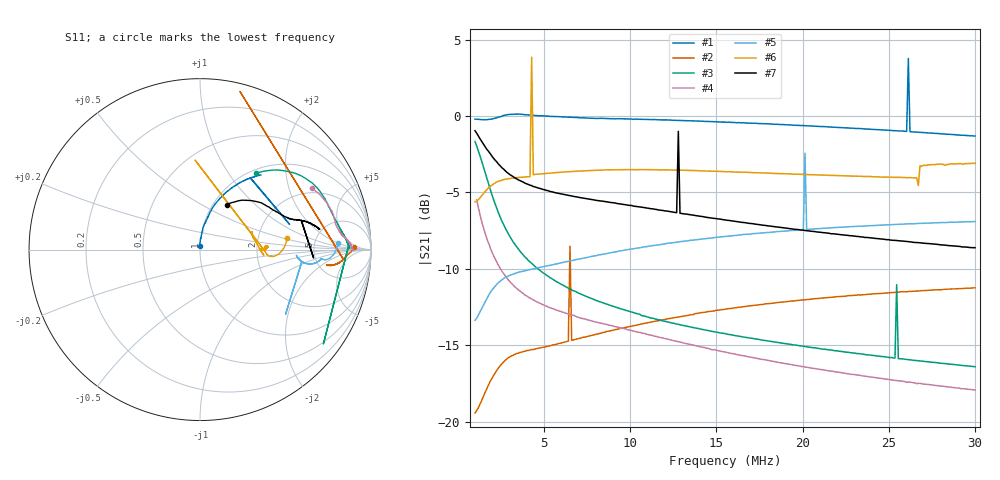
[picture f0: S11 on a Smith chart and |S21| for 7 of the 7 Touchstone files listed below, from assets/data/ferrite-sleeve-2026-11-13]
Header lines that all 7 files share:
!File created by NanoVNA-F V2
# Hz S RI R 50
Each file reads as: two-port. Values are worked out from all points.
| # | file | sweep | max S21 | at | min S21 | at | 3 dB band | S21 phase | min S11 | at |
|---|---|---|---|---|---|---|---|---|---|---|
| 1 | SJ000015.s2p | 1 MHz to 30 MHz | 3.77 dB | 26.13 MHz | -1.3 dB | 30 MHz | 26.13 MHz-26.13 MHz | -22 deg at 15.5 MHz | -33.9 dB | 1 MHz |
| 2 | SJ000017.s2p | 1 MHz to 30 MHz | -8.52 dB | 6.51 MHz | -19.4 dB | 1 MHz | 25.65 MHz-30 MHz | 10 deg at 15.5 MHz | -2.6 dB | 30 MHz |
| 3 | SJ000020.s2p | 1 MHz to 30 MHz | -1.67 dB | 1 MHz | -16.4 dB | 30 MHz | 1 MHz-1.773 MHz | -37 deg at 15.5 MHz | -5.2 dB | 1 MHz |
| 4 | SJ000021.s2p | 1.097 MHz to 30 MHz | -5.48 dB | 1.097 MHz | -17.9 dB | 30 MHz | 1.097 MHz-1.773 MHz | -35 deg at 15.6 MHz | -2.6 dB | 1.097 MHz |
| 5 | SJ000022.s2p | 1 MHz to 30 MHz | -2.43 dB | 20.14 MHz | -13.4 dB | 1 MHz | 20.14 MHz-20.14 MHz | 3 deg at 15.5 MHz | -5.0 dB | 29.9 MHz |
| 6 | SJ000023.s2p | 1 MHz to 30 MHz | 3.84 dB | 4.287 MHz | -5.6 dB | 1 MHz | 4.287 MHz-4.287 MHz | -13 deg at 15.5 MHz | -10.0 dB | 27.58 MHz |
| 7 | SJ000024.s2p | 1 MHz to 30 MHz | -0.96 dB | 1 MHz | -8.6 dB | 29.9 MHz | 1 MHz-3.127 MHz | -29 deg at 15.5 MHz | -10.3 dB | 1 MHz |
